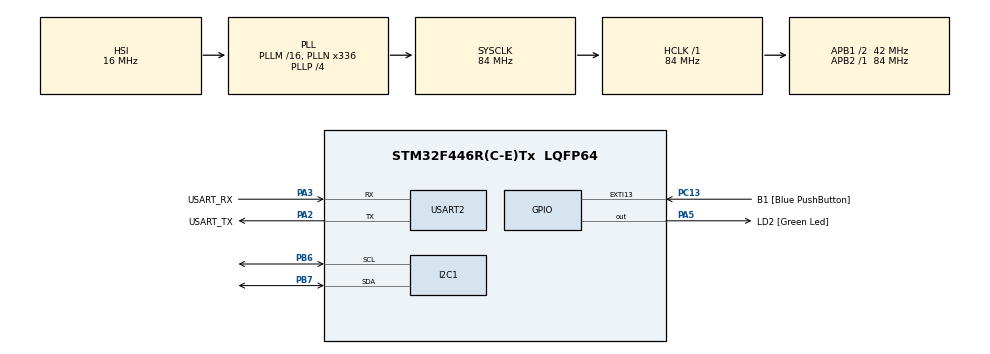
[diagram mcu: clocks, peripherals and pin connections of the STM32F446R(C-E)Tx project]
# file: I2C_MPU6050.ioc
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Mcu.Family=STM32F4
Mcu.Name=STM32F446R(C-E)Tx
Mcu.Package=LQFP64
NVIC.PriorityGroup=NVIC_PRIORITYGROUP_0
NVIC.USART2_IRQn=true\:0\:0\:false\:false\:true\:true\:true\:true
PA13.GPIO_Label=TMS
PA13.Mode=Serial_Wire
PA13.Signal=SYS_JTMS-SWDIO
PA14.GPIO_Label=TCK
PA14.Mode=Serial_Wire
PA14.Signal=SYS_JTCK-SWCLK
PA2.GPIO_Label=USART_TX
PA2.Mode=Asynchronous
PA2.Signal=USART2_TX
PA3.GPIO_Label=USART_RX
PA3.Mode=Asynchronous
PA3.Signal=USART2_RX
PA5.GPIO_Label=LD2 [Green Led]
PA5.Signal=GPIO_Output
PB3.GPIO_Label=SWO
PB3.Signal=SYS_JTDO-SWO
PB6.Mode=I2C
PB6.Signal=I2C1_SCL
PB7.Mode=I2C
PB7.Signal=I2C1_SDA
PC13.GPIO_Label=B1 [Blue PushButton]
PC13.GPIO_ModeDefaultEXTI=GPIO_MODE_IT_FALLING
PC13.Signal=GPXTI13
PC14-OSC32_IN.Mode=LSE-External-Oscillator
PC14-OSC32_IN.Signal=RCC_OSC32_IN
PC15-OSC32_OUT.Mode=LSE-External-Oscillator
PC15-OSC32_OUT.Signal=RCC_OSC32_OUT
PH0-OSC_IN.Mode=HSE-External-Oscillator
PH0-OSC_IN.Signal=RCC_OSC_IN
PH1-OSC_OUT.Mode=HSE-External-Oscillator
PH1-OSC_OUT.Signal=RCC_OSC_OUT
ProjectManager.HeapSize=0x200
ProjectManager.StackSize=0x400
ProjectManager.TargetToolchain=STM32CubeIDE
RCC.48MHZClocksFreq_Value=84000000
RCC.AHBFreq_Value=84000000
RCC.APB1CLKDivider=RCC_HCLK_DIV2
RCC.APB1Freq_Value=42000000
RCC.APB1TimFreq_Value=84000000
RCC.APB2Freq_Value=84000000
RCC.APB2TimFreq_Value=84000000
RCC.CortexFreq_Value=84000000
RCC.FLatency-AdvancedSettings=FLASH_LATENCY_2
RCC.HCLKFreq_Value=84000000
RCC.HSE_VALUE=8000000
RCC.HSI_VALUE=16000000
RCC.PLLN=336
RCC.PLLP=RCC_PLLP_DIV4
RCC.SYSCLKFreq_VALUE=84000000
RCC.SYSCLKSource=RCC_SYSCLKSOURCE_PLLCLK
RCC.USBFreq_Value=168000000
RCC.VCOOutputFreq_Value=336000000
USART2.VirtualMode=VM_ASYNC
board=NUCLEO-F446RE

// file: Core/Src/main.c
/* USER CODE BEGIN Header */
/**
  ******************************************************************************
  * @file           : main.c
  * @brief          : Main program body
  ******************************************************************************
  * @attention
  *
  * Copyright (c) 2025 STMicroelectronics.
  * All rights reserved.
  *
  * This software is licensed under terms that can be found in the LICENSE file
  * in the root directory of this software component.
  * If no LICENSE file comes with this software, it is provided AS-IS.
  *
  ******************************************************************************
  */
/* USER CODE END Header */
#include "main.h"
// Redirects printf to the UART
#include "stdio.h"

// MPU-6050 I2C slave address
#define MPU6050_ADDR 0x68

// MPU-6050 Register addresses
#define WHO_AM_I_REG   0x75
#define PWR_MGMT_1_REG 0x6B
#define SMPLRT_DIV_REG 0x19
#define CONFIG_REG     0x1A
#define GYRO_CONFIG_REG 0x1B
#define ACCEL_CONFIG_REG 0x1C

// MPU-6050 data registers
#define ACCEL_XOUT_H_REG 0x3B
#define GYRO_XOUT_H_REG  0x43
#define TEMP_OUT_H_REG   0x41

I2C_HandleTypeDef hi2c1;

UART_HandleTypeDef huart2;

void SystemClock_Config(void);
static void MX_GPIO_Init(void);
static void MX_USART2_UART_Init(void);
static void MX_I2C1_Init(void);
/* USER CODE BEGIN PFP */

void MPU6050_Init(void) {
    uint8_t check;
    uint8_t Data;

    // Check device ID
    HAL_I2C_Mem_Read(&hi2c1, MPU6050_ADDR << 1, WHO_AM_I_REG, 1, &check, 1, 1000);

    if (check == 0x68) { // Correct device ID
        // Power Management 1 register - wake up MPU-6050
        Data = 0;
        HAL_I2C_Mem_Write(&hi2c1, MPU6050_ADDR << 1, PWR_MGMT_1_REG, 1, &Data, 1, 1000);

        // Sample Rate Divider - Set to 1kHz
        Data = 0x07;
        HAL_I2C_Mem_Write(&hi2c1, MPU6050_ADDR << 1, SMPLRT_DIV_REG, 1, &Data, 1, 1000);

        // Configuration register - Set Digital Low Pass Filter to 26Hz
        Data = 0x03;
        HAL_I2C_Mem_Write(&hi2c1, MPU6050_ADDR << 1, CONFIG_REG, 1, &Data, 1, 1000);

        // Gyroscope Configuration - Set Full Scale Range to +/- 500 deg/s
        Data = 0x08;
        HAL_I2C_Mem_Write(&hi2c1, MPU6050_ADDR << 1, GYRO_CONFIG_REG, 1, &Data, 1, 1000);

        // Accelerometer Configuration - Set Full Scale Range to +/- 8g
        Data = 0x08;
        HAL_I2C_Mem_Write(&hi2c1, MPU6050_ADDR << 1, ACCEL_CONFIG_REG, 1, &Data, 1, 1000);
    }
}

typedef struct {
    int16_t Accel_X, Accel_Y, Accel_Z;
    int16_t Gyro_X, Gyro_Y, Gyro_Z;
} MPU6050_t;

MPU6050_t MPU6050_Data;

void MPU6050_Read_All() {
    uint8_t Rx_Data[14];
    HAL_I2C_Mem_Read(&hi2c1, MPU6050_ADDR << 1, ACCEL_XOUT_H_REG, 1, Rx_Data, 14, 1000);

    // Combine high and low bytes to get 16-bit values
    MPU6050_Data.Accel_X = (int16_t)(Rx_Data[0] << 8 | Rx_Data[1]);
    MPU6050_Data.Accel_Y = (int16_t)(Rx_Data[2] << 8 | Rx_Data[3]);
    MPU6050_Data.Accel_Z = (int16_t)(Rx_Data[4] << 8 | Rx_Data[5]);
    MPU6050_Data.Gyro_X = (int16_t)(Rx_Data[8] << 8 | Rx_Data[9]);
    MPU6050_Data.Gyro_Y = (int16_t)(Rx_Data[10] << 8 | Rx_Data[11]);
    MPU6050_Data.Gyro_Z = (int16_t)(Rx_Data[12] << 8 | Rx_Data[13]);
}

int __io_putchar(int ch)
{
    HAL_UART_Transmit(&huart2, (uint8_t *)&ch, 1, HAL_MAX_DELAY);
    return ch;
}

/* USER CODE END PFP */

int main(void)
{

  /* MCU Configuration--------------------------------------------------------*/

  /* Reset of all peripherals, Initializes the Flash interface and the Systick. */
  HAL_Init();

  /* Configure the system clock */
  SystemClock_Config();

  /* Initialize all configured peripherals */
  MX_GPIO_Init();
  MX_USART2_UART_Init();
  MX_I2C1_Init();
  /* USER CODE BEGIN 2 */
  MPU6050_Init();
  printf("MPU-6050 Initialized!\n");

  /* USER CODE END 2 */

  /* Infinite loop */
  while (1)
  {
	  MPU6050_Read_All();
	  printf("Accel: X=%d, Y=%d, Z=%d | Gyro: X=%d, Y=%d, Z=%d\r\n",
			 MPU6050_Data.Accel_X, MPU6050_Data.Accel_Y, MPU6050_Data.Accel_Z,
			 MPU6050_Data.Gyro_X, MPU6050_Data.Gyro_Y, MPU6050_Data.Gyro_Z);
	  HAL_Delay(100);

  }
}

void SystemClock_Config(void)
{
  RCC_OscInitTypeDef RCC_OscInitStruct = {0};
  RCC_ClkInitTypeDef RCC_ClkInitStruct = {0};

  /** Configure the main internal regulator output voltage
  */
  __HAL_RCC_PWR_CLK_ENABLE();
  __HAL_PWR_VOLTAGESCALING_CONFIG(PWR_REGULATOR_VOLTAGE_SCALE3);

  /** Initializes the RCC Oscillators according to the specified parameters
  * in the RCC_OscInitTypeDef structure.
  */
  RCC_OscInitStruct.OscillatorType = RCC_OSCILLATORTYPE_HSI;
  RCC_OscInitStruct.HSIState = RCC_HSI_ON;
  RCC_OscInitStruct.HSICalibrationValue = RCC_HSICALIBRATION_DEFAULT;
  RCC_OscInitStruct.PLL.PLLState = RCC_PLL_ON;
  RCC_OscInitStruct.PLL.PLLSource = RCC_PLLSOURCE_HSI;
  RCC_OscInitStruct.PLL.PLLM = 16;
  RCC_OscInitStruct.PLL.PLLN = 336;
  RCC_OscInitStruct.PLL.PLLP = RCC_PLLP_DIV4;
  RCC_OscInitStruct.PLL.PLLQ = 2;
  RCC_OscInitStruct.PLL.PLLR = 2;
  if (HAL_RCC_OscConfig(&RCC_OscInitStruct) != HAL_OK)
  {
    Error_Handler();
  }

  /** Initializes the CPU, AHB and APB buses clocks
  */
  RCC_ClkInitStruct.ClockType = RCC_CLOCKTYPE_HCLK|RCC_CLOCKTYPE_SYSCLK
                              |RCC_CLOCKTYPE_PCLK1|RCC_CLOCKTYPE_PCLK2;
  RCC_ClkInitStruct.SYSCLKSource = RCC_SYSCLKSOURCE_PLLCLK;
  RCC_ClkInitStruct.AHBCLKDivider = RCC_SYSCLK_DIV1;
  RCC_ClkInitStruct.APB1CLKDivider = RCC_HCLK_DIV2;
  RCC_ClkInitStruct.APB2CLKDivider = RCC_HCLK_DIV1;

  if (HAL_RCC_ClockConfig(&RCC_ClkInitStruct, FLASH_LATENCY_2) != HAL_OK)
  {
    Error_Handler();
  }
}

static void MX_I2C1_Init(void)
{

  hi2c1.Instance = I2C1;
  hi2c1.Init.ClockSpeed = 100000;
  hi2c1.Init.DutyCycle = I2C_DUTYCYCLE_2;
  hi2c1.Init.OwnAddress1 = 0;
  hi2c1.Init.AddressingMode = I2C_ADDRESSINGMODE_7BIT;
  hi2c1.Init.DualAddressMode = I2C_DUALADDRESS_DISABLE;
  hi2c1.Init.OwnAddress2 = 0;
  hi2c1.Init.GeneralCallMode = I2C_GENERALCALL_DISABLE;
  hi2c1.Init.NoStretchMode = I2C_NOSTRETCH_DISABLE;
  if (HAL_I2C_Init(&hi2c1) != HAL_OK)
  {
    Error_Handler();
  }

}

static void MX_USART2_UART_Init(void)
{

  huart2.Instance = USART2;
  huart2.Init.BaudRate = 115200;
  huart2.Init.WordLength = UART_WORDLENGTH_8B;
  huart2.Init.StopBits = UART_STOPBITS_1;
  huart2.Init.Parity = UART_PARITY_NONE;
  huart2.Init.Mode = UART_MODE_TX_RX;
  huart2.Init.HwFlowCtl = UART_HWCONTROL_NONE;
  huart2.Init.OverSampling = UART_OVERSAMPLING_16;
  if (HAL_UART_Init(&huart2) != HAL_OK)
  {
    Error_Handler();
  }

}

static void MX_GPIO_Init(void)
{
  GPIO_InitTypeDef GPIO_InitStruct = {0};

  /* GPIO Ports Clock Enable */
  __HAL_RCC_GPIOC_CLK_ENABLE();
  __HAL_RCC_GPIOH_CLK_ENABLE();
  __HAL_RCC_GPIOA_CLK_ENABLE();
  __HAL_RCC_GPIOB_CLK_ENABLE();

  /*Configure GPIO pin Output Level */
  HAL_GPIO_WritePin(LD2_GPIO_Port, LD2_Pin, GPIO_PIN_RESET);

  /*Configure GPIO pin : B1_Pin */
  GPIO_InitStruct.Pin = B1_Pin;
  GPIO_InitStruct.Mode = GPIO_MODE_IT_FALLING;
  GPIO_InitStruct.Pull = GPIO_NOPULL;
  HAL_GPIO_Init(B1_GPIO_Port, &GPIO_InitStruct);

  /*Configure GPIO pin : LD2_Pin */
  GPIO_InitStruct.Pin = LD2_Pin;
  GPIO_InitStruct.Mode = GPIO_MODE_OUTPUT_PP;
  GPIO_InitStruct.Pull = GPIO_NOPULL;
  GPIO_InitStruct.Speed = GPIO_SPEED_FREQ_LOW;
  HAL_GPIO_Init(LD2_GPIO_Port, &GPIO_InitStruct);

}

void Error_Handler(void)
{
  __disable_irq();
  while (1)
  {
  }
}
